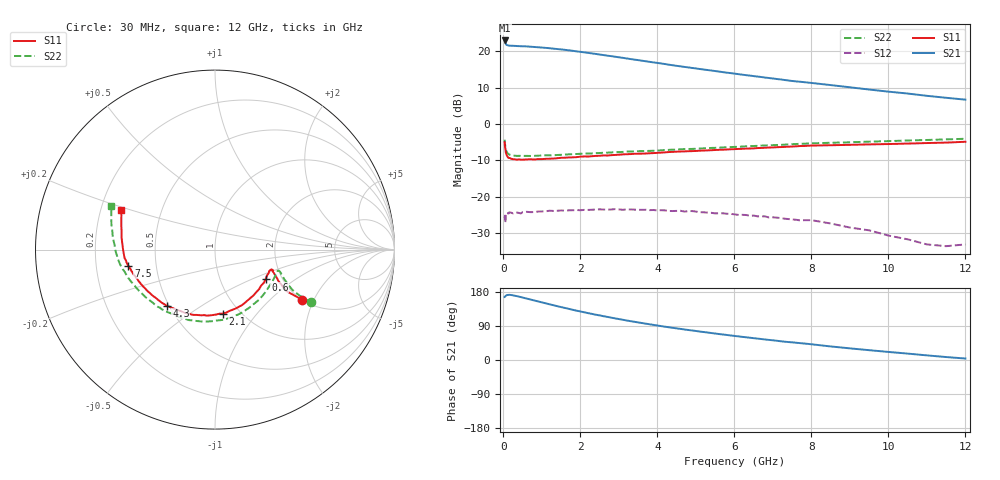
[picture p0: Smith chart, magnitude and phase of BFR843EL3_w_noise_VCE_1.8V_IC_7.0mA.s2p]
! Infineon Technologies  Discrete & RF Semiconductors
! BFR843EL3
! VCE =  1.8 V,  IC =  7.0 mA
! Common Emitter S-Parameters:  Aug 2013
# GHz  S  MA  R  50
!  f  S11  S21  S12  S22
! GHz  MAG  ANG  MAG  ANG  MAG  ANG  MAG  ANG
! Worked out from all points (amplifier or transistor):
!   103 points, 30 MHz to 12 GHz, reference 50 ohm
!   highest |S21| = 22.9 dB at 30 MHz (marker M1)
!   |S21| within 3 dB of that: start of sweep to 1.908 GHz
!   unconditionally stable (mu >= 1): 6.014 GHz to end of sweep
!   at 400 MHz: K = 1.00, MSG = 22.9 dB, |S12| = -24.4 dB
!   at 3.7 GHz: K = 0.81, MSG = 20.4 dB, |S12| = -23.5 dB
!   at 12 GHz: K = 4.14, MAG = 10.7 dB, |S12| = -33.0 dB
!   lowest NFmin = 0.87 dB at 450 MHz
!   S11 on the Smith chart (normalised r, x): 30 MHz: 2.00, -1.64; 600 MHz: 1.64, -0.61; 2.1 GHz: 0.83, -0.68; 4.3 GHz: 0.49, -0.37; 7.5 GHz: 0.34, -0.08; 12 GHz: 0.28, +0.19
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0.03  0.5618 -29.9  14.01 166.4  0.0511 34.4  0.6096 -28.8
0.04  0.491 -30.1  13.29 167.4  0.0553 25.3  0.5343 -28.5
0.06  0.4061 -27.1  12.52 169.4  0.0576 23.9  0.4561 -25.9
0.08  0.3805 -24.7  12.21 170.9  0.0582 13.6  0.4189 -23.1
0.1  0.361 -22.7  12.07 171.5  0.06 10.6  0.4029 -21.1
0.15  0.344 -19.6  11.9 172.0  0.0614 7.2  0.3814 -18.7
0.35  0.3242 -21.8  11.74 168.5  0.061 3.6  0.3655 -21.3
0.6  0.3269 -30.6  11.61 162.2  0.0625 3.1  0.3655 -29.9
1  0.3302 -45.7  11.2 152.0  0.0632 2.5  0.3697 -45.2
1.4  0.3398 -60.3  10.68 142.0  0.0646 1.3  0.376 -59.8
1.8  0.3491 -73.9  10.1 132.5  0.0656 -0.1  0.3862 -73.4
2.1  0.3592 -83.2  9.611 125.8  0.0664 -0.9  0.3935 -82.8
2.6  0.3707 -97.0  8.826 115.5  0.0671 -3.8  0.4032 -96.2
3.2  0.3852 -110.8  7.935 104.3  0.0675 -6.7  0.4187 -110.2
4.1  0.4053 -127.4  6.763 89.4  0.0657 -10.6  0.4362 -126.7
4.3  0.4129 -130.8  6.512 86.3  0.0641 -11.8  0.4422 -130.1
5.1  0.4304 -142.8  5.683 75.1  0.0617 -15.3  0.4607 -142.1
6.1  0.455 -155.1  4.834 62.4  0.0567 -18.4  0.4881 -154.4
7.5  0.4909 -169.5  3.893 46.6  0.0492 -21.5  0.5281 -169.1
8.5  0.5118 -179.7  3.421 35.8  0.0432 -25.8  0.5535 -178.9
10.5  0.5393 165.5  2.619 16.9  0.0262 -17.1  0.5946 166.1
12  0.5708 157.2  2.159 3.9  0.0223 20.9  0.6279 157.2
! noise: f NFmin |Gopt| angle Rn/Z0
0.45  0.87  0.11  24  0.12
0.9  0.89  0.12  40  0.13
1.5  0.92  0.13  53  0.13
1.9  0.93  0.13  59  0.13
2.4  0.95  0.14  71  0.12
3.5  0.99  0.15  90  0.12
5.5  1.06  0.2  127  0.11
8  1.14  0.29  166  0.08
10  1.21  0.41  208  0.05
